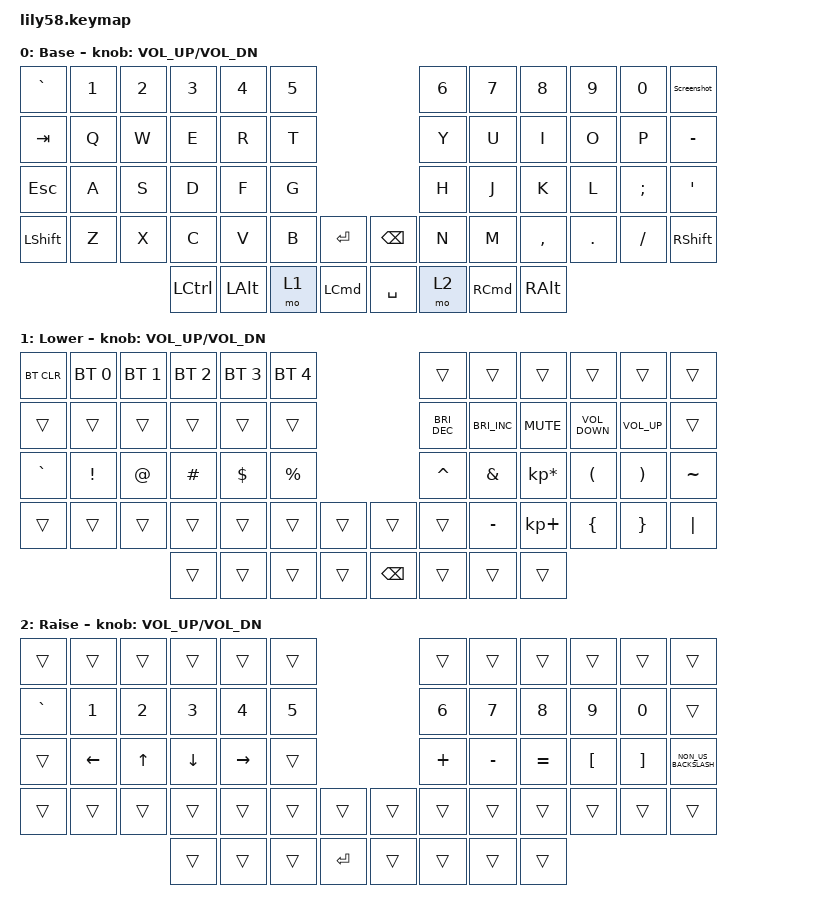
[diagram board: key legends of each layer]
/*
 * Copyright (c) 2020 The ZMK Contributors
 *
 * SPDX-License-Identifier: MIT
 */

#include <behaviors.dtsi>
#include <dt-bindings/zmk/bt.h>
#include <dt-bindings/zmk/keys.h>

/ {
    macros {
        Screenshot: Screenshot {
            compatible = "zmk,behavior-macro";
            #binding-cells = <0>;
            bindings = <&kp LS(LC(NUMBER_4))>;
            label = "SCREENSHOT";
        };
    };

    keymap {
        compatible = "zmk,keymap";

        default_layer {
            // ------------------------------------------------------------------------------------------------------------
            // |  ESC  |  1  |  2  |  3   |  4   |  5   |                   |  6   |  7    |  8    |  9   |   0   |   `   |
            // |  TAB  |  Q  |  W  |  E   |  R   |  T   |                   |  Y   |  U    |  I    |  O   |   P   |   -   |
            // |  CTRL |  A  |  S  |  D   |  F   |  G   |                   |  H   |  J    |  K    |  L   |   ;   |   '   |
            // | SHIFT |  Z  |  X  |  C   |  V   |  B   |   "["  |  |  "]"  |  N   |  M    |  ,    |  .   |   /   | SHIFT |
            //                     | ALT  | GUI  | LOWER|  SPACE |  | ENTER | RAISE| BSPC  | GUI   |

            label = "Base";
            bindings = <
&kp GRAVE   &kp N1  &kp N2  &kp N3            &kp N4        &kp N5                                     &kp N6  &kp N7             &kp N8         &kp N9   &kp N0    &Screenshot
&kp TAB     &kp Q   &kp W   &kp E             &kp R         &kp T                                      &kp Y   &kp U              &kp I          &kp O    &kp P     &kp MINUS
&kp ESCAPE  &kp A   &kp S   &kp D             &kp F         &kp G                                      &kp H   &kp J              &kp K          &kp L    &kp SEMI  &kp SQT
&kp LSHFT   &kp Z   &kp X   &kp C             &kp V         &kp B   &kp ENTER           &kp BACKSPACE  &kp N   &kp M              &kp COMMA      &kp DOT  &kp FSLH  &kp RSHFT
                            &kp LEFT_CONTROL  &kp LEFT_ALT  &mo 1   &kp LEFT_COMMAND    &kp SPACE      &mo 2   &kp RIGHT_COMMAND  &kp RIGHT_ALT
            >;

            sensor-bindings = <&inc_dec_kp C_VOL_UP C_VOL_DN>;
        };

        lower_layer {
            // ------------------------------------------------------------------------------------------------------------
            // | BTCLR | BT1 | BT2 |  BT3 |  BT4 |  BT5 |                   |      |       |       |      |       |       |
            // |  F1   |  F2 |  F3 |  F4  |  F5  |  F6  |                   |  F7  |  F8   |  F9   |  F10 |  F11  |  F12  |
            // |   `   |  !  |  @  |  #   |  $   |  %   |                   |  ^   |  &    |  *    |  (   |   )   |   ~   |
            // |       |     |     |      |      |      |        |  |       |      |  _    |  +    |  {   |   }   |  "|"  |
            //                     |      |      |      |        |  |       |      |       |       |

            label = "Lower";
            bindings = <
&bt BT_CLR  &bt BT_SEL 0  &bt BT_SEL 1  &bt BT_SEL 2  &bt BT_SEL 3  &bt BT_SEL 4                           &trans                &trans         &trans           &trans             &trans           &trans
&trans      &trans        &trans        &trans        &trans        &trans                                 &kp C_BRIGHTNESS_DEC  &kp C_BRI_INC  &kp K_MUTE       &kp C_VOLUME_DOWN  &kp C_VOLUME_UP  &trans
&kp GRAVE   &kp EXCL      &kp AT        &kp HASH      &kp DOLLAR    &kp PRCNT                              &kp CARET             &kp AMPS       &kp KP_MULTIPLY  &kp LPAR           &kp RPAR         &kp TILDE
&trans      &trans        &trans        &trans        &trans        &trans        &trans    &trans         &trans                &kp MINUS      &kp KP_PLUS      &kp LBRC           &kp RBRC         &kp PIPE
                                        &trans        &trans        &trans        &trans    &kp BACKSPACE  &trans                &trans         &trans
            >;

            sensor-bindings = <&inc_dec_kp C_VOL_UP C_VOL_DN>;
        };

        raise_layer {
            // ------------------------------------------------------------------------------------------------------------
            // |       |     |     |      |      |      |                   |      |       |       |      |       |       |
            // |   `   |  1  |  2  |  3   |  4   |  5   |                   |  6   |   7   |   8   |  9   |   0   |       |
            // |   F1  |  F2 |  F3 |  F4  |  F5  |  F6  |                   |      |   <-  |   v   |  ^   |  ->   |       |
            // |   F7  |  F8 |  F9 |  F10 |  F11 |  F12 |        |  |       |  +   |   -   |   =   |  [   |   ]   |   \   |
            //                     |      |      |      |        |  |       |      |       |       |

            label = "Raise";
            bindings = <
&trans     &trans    &trans        &trans          &trans           &trans                       &trans    &trans     &trans     &trans            &trans             &trans
&kp GRAVE  &kp N1    &kp N2        &kp N3          &kp N4           &kp N5                       &kp N6    &kp N7     &kp N8     &kp N9            &kp N0             &trans
&trans     &kp LEFT  &kp UP_ARROW  &kp DOWN_ARROW  &kp RIGHT_ARROW  &trans                       &kp PLUS  &kp MINUS  &kp EQUAL  &kp LEFT_BRACKET  &kp RIGHT_BRACKET  &kp NON_US_BACKSLASH
&trans     &trans    &trans        &trans          &trans           &trans  &trans       &trans  &trans    &trans     &trans     &trans            &trans             &trans
                                   &trans          &trans           &trans  &kp ENTER    &trans  &trans    &trans     &trans
            >;

            sensor-bindings = <&inc_dec_kp C_VOL_UP C_VOL_DN>;
        };
    };
};
